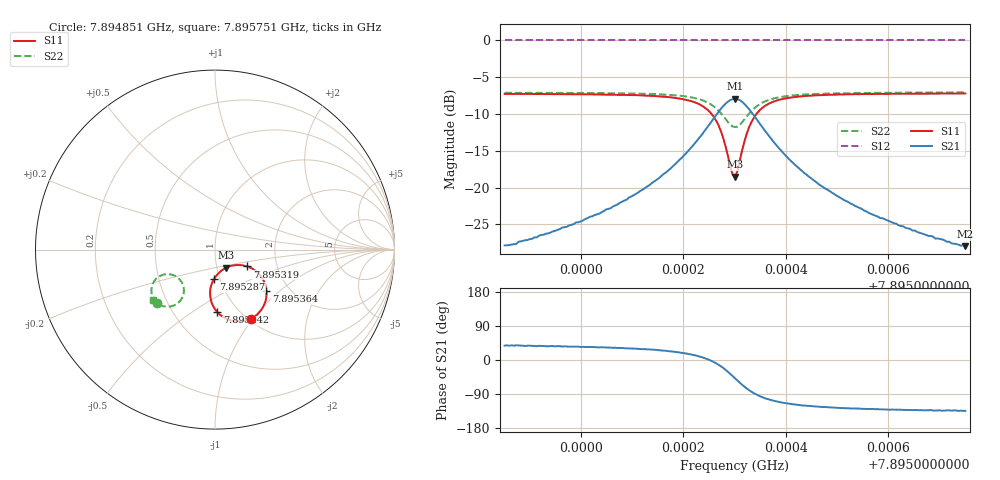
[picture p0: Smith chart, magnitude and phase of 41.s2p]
!Keysight Technologies N9918A: A.08.18
!Date: Thursday, 13 June 2019 10:34:14
!Timezone: (GMT+01:00) Brussels, Copenhagen, Madrid, Paris
!Model: N9918A
!Serial: MY53103324
!GPS Latitude: 41 30.10388 N
!GPS Longitude: 2 6.57844 E
!GPS TimeStamp: 2019-06-13 10:34:14Z
!GPS Seconds Since Last Read: 1
!CHECKSUM:1719475316
!Correction: S11(Rdy)S21(ON U*)S12(OFF)S22(Rdy)
!S2P File: Measurements:S11,S21,S12,S22:
# Hz S DB R 50
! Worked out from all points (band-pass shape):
!   201 points, 7.894851 GHz to 7.895751 GHz, reference 50 ohm
!   highest |S21| = -7.93 dB at 7.895301 GHz (marker M1); lowest = -27.9 dB at 7.895751 GHz (marker M2)
!   |S21| within 3 dB of the highest: 7.895256 GHz to 7.895346 GHz (89.62 kHz wide, 0.00114 % of centre)
!   lowest |S11| = -18.5 dB at 7.895301 GHz (marker M3), VSWR 1.27, Z = 55.5 - j11.3 ohm
!   |S11| at or under -10 dB: 7.895255 GHz to 7.895343 GHz (87.67 kHz wide, 0.00111 % of centre)
!   |S22| runs from -11.8 to -7.1 dB; largest |S21 - S12| = 1.1
!   S11 on the Smith chart (normalised r, x): 7.894851 GHz: 1.03, -0.98; 7.895242 GHz: 0.80, -0.64; 7.895287 GHz: 0.94, -0.31; 7.895319 GHz: 1.41, -0.28; 7.895364 GHz: 1.54, -0.82; 7.895751 GHz: 1.02, -0.98
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7.8948507e9  -7.25 -62.5  -27.84 37.9  0.00 0.0  -7.11 -137.6
7.8950038e9  -7.31 -66.1  -24.45 34.8  0.00 0.0  -7.14 -140.2
7.8950894e9  -7.40 -69.3  -21.62 30.8  0.00 0.0  -7.19 -142.4
7.8951524e9  -7.60 -73.4  -18.70 25.8  0.00 0.0  -7.31 -144.8
7.8952019e9  -8.02 -79.1  -15.58 17.8  0.00 0.0  -7.58 -148.0
7.8952425e9  -9.15 -87.8  -12.20 4.6  0.00 0.0  -8.27 -152.2
7.895256e9  -10.06 -91.9  -10.92 -2.9  0.00 0.0  -8.78 -153.7
7.8952695e9  -11.63 -95.8  -9.65 -13.1  0.00 0.0  -9.58 -154.3
7.8952785e9  -13.37 -96.7  -8.88 -21.5  0.00 0.0  -10.30 -153.4
7.8952875e9  -15.78 -91.9  -8.29 -31.5  0.00 0.0  -11.10 -150.0
7.8952965e9  -18.25 -72.8  -7.98 -42.7  0.00 0.0  -11.69 -143.7
7.895301e9  -18.52 -58.0  -7.93 -48.3  0.00 0.0  -11.77 -139.6
7.8953055e9  -17.81 -44.2  -7.99 -54.0  0.00 0.0  -11.71 -135.4
7.895319e9  -13.83 -27.5  -8.59 -70.0  0.00 0.0  -10.75 -126.7
7.895328e9  -11.88 -27.6  -9.29 -79.3  0.00 0.0  -9.98 -124.5
7.895337e9  -10.60 -30.1  -10.10 -86.9  0.00 0.0  -9.31 -124.2
7.895364e9  -8.70 -38.6  -12.67 -102.9  0.00 0.0  -8.16 -126.8
7.8954091e9  -7.77 -47.5  -16.30 -115.7  0.00 0.0  -7.49 -131.2
7.8954541e9  -7.48 -52.4  -18.95 -122.2  0.00 0.0  -7.28 -133.9
7.8955261e9  -7.31 -56.6  -22.12 -127.8  0.00 0.0  -7.16 -136.6
7.8956027e9  -7.25 -59.4  -24.54 -131.3  0.00 0.0  -7.10 -138.4
7.8957513e9  -7.21 -62.8  -27.95 -134.2  0.00 0.0  -7.06 -140.8
